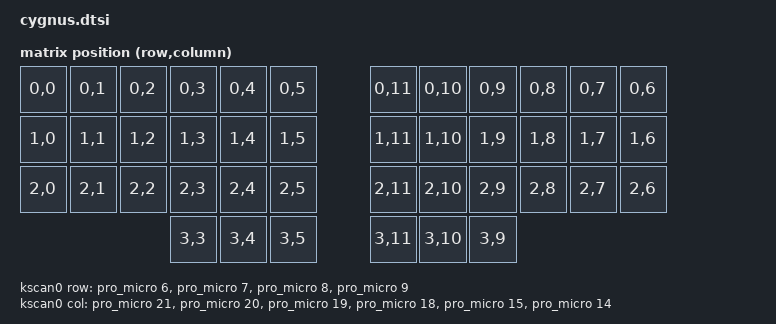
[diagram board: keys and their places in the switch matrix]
/*
 * Cygnus 3x6+3 matrix, taken from
 * https://github.com/Vzhao-L/zmk-for-charybdis/tree/Cygnus-36
 * (RGB/encoders removed). Key order matches the Corne 6-column layout,
 * so the shared main.keymap works unchanged.
 */

#include <dt-bindings/zmk/matrix_transform.h>

#include <layouts/foostan/corne/6column.dtsi>

&foostan_corne_6col_layout {
    transform = <&default_transform>;
};

/ {
    chosen {
        zmk,kscan = &kscan0;
        zmk,physical-layout = &foostan_corne_6col_layout;
    };

    default_transform: keymap_transform_0 {
        compatible = "zmk,matrix-transform";
        columns = <12>;
        rows = <4>;

        // Right half columns are wired mirrored, hence the reversed order.
        map = <
RC(0,0) RC(0,1) RC(0,2) RC(0,3) RC(0,4) RC(0,5)  RC(0,11) RC(0,10) RC(0,9) RC(0,8) RC(0,7) RC(0,6)
RC(1,0) RC(1,1) RC(1,2) RC(1,3) RC(1,4) RC(1,5)  RC(1,11) RC(1,10) RC(1,9) RC(1,8) RC(1,7) RC(1,6)
RC(2,0) RC(2,1) RC(2,2) RC(2,3) RC(2,4) RC(2,5)  RC(2,11) RC(2,10) RC(2,9) RC(2,8) RC(2,7) RC(2,6)
                        RC(3,3) RC(3,4) RC(3,5)  RC(3,11) RC(3,10) RC(3,9)
        >;
    };

    kscan0: kscan {
        compatible = "zmk,kscan-gpio-matrix";
        wakeup-source;

        diode-direction = "row2col";
        row-gpios
            = <&pro_micro 6 GPIO_ACTIVE_HIGH>   // P1.00
            , <&pro_micro 7 GPIO_ACTIVE_HIGH>   // P0.11
            , <&pro_micro 8 GPIO_ACTIVE_HIGH>   // P1.04
            , <&pro_micro 9 GPIO_ACTIVE_HIGH>   // P1.06
            ;

        col-gpios
            = <&pro_micro 21 (GPIO_ACTIVE_HIGH | GPIO_PULL_DOWN)>   // P0.31
            , <&pro_micro 20 (GPIO_ACTIVE_HIGH | GPIO_PULL_DOWN)>   // P0.29
            , <&pro_micro 19 (GPIO_ACTIVE_HIGH | GPIO_PULL_DOWN)>   // P0.02
            , <&pro_micro 18 (GPIO_ACTIVE_HIGH | GPIO_PULL_DOWN)>   // P1.15
            , <&pro_micro 15 (GPIO_ACTIVE_HIGH | GPIO_PULL_DOWN)>   // P1.13
            , <&pro_micro 14 (GPIO_ACTIVE_HIGH | GPIO_PULL_DOWN)>   // P1.11
            ;
    };
};
